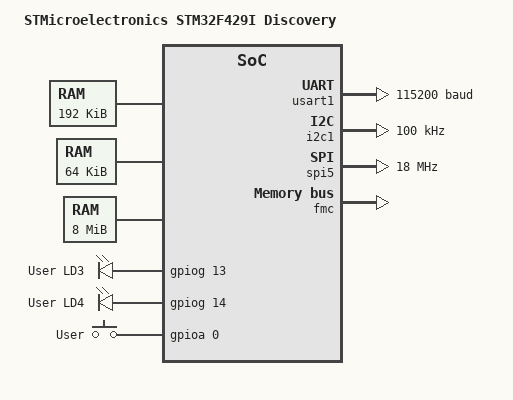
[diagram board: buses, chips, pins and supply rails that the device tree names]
// STM32F429I-DISC Device Tree
// STM32F429I-DISC 设备树
//
// 设备树的核心是定义 "硬件属性"（寄存器地址、中断号、时钟、兼容标识等），不定义 "驱动逻辑"
// 驱动代码通过「通用逻辑 + 适配层」处理不同 SoC 的外设操作差异，适配层由设备树的 compatible 属性触发
//
// 基于 Zephyr 的 stm32f429i_disc1 设备树配置移植

/dts-v1/;

/ {
    // 开发板模型描述
    // 开发板的名称和兼容标识，用于驱动匹配
    model = "STMicroelectronics STM32F429I Discovery";
    compatible = "st,stm32f4discovery";

    // 内存定义
    // 内部 SRAM
    sram0: memory@20000000 {
        device_type = "memory";
        compatible = "mmio-sram";
        reg = <0x20000000 0x30000>;
    };

    // DTCM (Data Tightly Coupled Memory)
    ccm0: memory@20000000 {
        compatible = "zephyr,memory-region", "mmio-sram";
        reg = <0x20000000 0x10000>;
        zephyr,memory-region = "DTCM";
    };

    // 外部 SDRAM (8MB)
    sdram2: memory@d0000000 {
        compatible = "zephyr,memory-region", "mmio-sram";
        device_type = "memory";
        reg = <0xd0000000 DT_SIZE_M(8)>;
        zephyr,memory-region = "SDRAM2";
    };

    // LED 设备节点定义
    // 定义 LED 的引脚配置等硬件属性
    leds {
        compatible = "gpio-leds";

        // LD3 (绿色 LED)
        green_led_3: led_3 {
            // 兼容标识，用于匹配对应的 LED 驱动
            compatible = "gpio-leds";
            // GPIO 引脚编号: PG13
            gpios = <&gpiog 13 0>;
            // LED 标签
            label = "User LD3";
        };

        // LD4 (红色 LED)
        red_led_4: led_4 {
            // 兼容标识，用于匹配对应的 LED 驱动
            compatible = "gpio-leds";
            // GPIO 引脚编号: PG14
            gpios = <&gpiog 14 0>;
            // LED 标签
            label = "User LD4";
        };
    };

    // GPIO 按键节点定义
    gpio_keys {
        compatible = "gpio-keys";

        // 用户按钮
        user_button: button {
            label = "User";
            // GPIO 引脚编号: PA0
            gpios = <&gpioa 0 16>;
            zephyr,code = <0>;
        };
    };

    // SoC (System on Chip) 节点定义
    // 包含所有片上外设的硬件属性
    soc {
        #address-cells = <1>;
        #size-cells = <1>;
        // SoC 兼容标识
        compatible = "st,stm32f429";
        // 地址转换范围
        ranges;

        // GPIOA 控制器
        gpioa: gpio@40020000 {
            compatible = "st,stm32-gpio";
            reg = <0x40020000 0x400>;
            clocks = <&rcc 0>;
        };

        // GPIOG 控制器
        gpiog: gpio@40021000 {
            compatible = "st,stm32-gpio";
            reg = <0x40021000 0x400>;
            clocks = <&rcc 0>;
        };

        // UART1 串口节点定义
        // 定义串口的寄存器地址、中断号、时钟频率等硬件属性
        usart1: serial@40013800 {
            // 兼容标识，用于匹配对应的 UART 驱动
            compatible = "st,stm32-usart";
            // 寄存器基地址和大小
            // base address = 0x40013800, size = 0x400
            reg = <0x40013800 0x400>;
            // 中断号
            interrupts = <37>;
            // 时钟频率，单位 Hz
            clock-frequency = <180000000>;
            // 波特率
            current-speed = <115200>;
            // 状态
            status = "okay";
        };

        // I2C1 总线节点定义
        i2c1: i2c@40005400 {
            // 兼容标识，用于匹配对应的 I2C 驱动
            compatible = "st,stm32-i2c";
            // 寄存器基地址和大小
            reg = <0x40005400 0x400>;
            // 中断号
            interrupts = <31>;
            // 时钟频率，单位 Hz
            clock-frequency = <100000>;
            // 状态
            status = "okay";
        };

        // SPI5 总线节点定义
        spi5: spi@40015000 {
            // 兼容标识，用于匹配对应的 SPI 驱动
            compatible = "st,stm32-spi";
            // 寄存器基地址和大小
            reg = <0x40015000 0x400>;
            // 中断号
            interrupts = <44>;
            // 时钟频率，单位 Hz
            clock-frequency = <18000000>;
            // 状态
            status = "okay";
        };

        // FMC (Flexible Memory Controller) 控制器
        // 用于连接外部 SDRAM
        fmc: fmc@40021000 {
            compatible = "st,stm32-fmc";
            reg = <0x40021000 0x400>;
            clocks = <&rcc 0>;
            status = "okay";
        };

        // LTDC (LCD-TFT Display Controller) 控制器
        ltdc: ltdc@40016800 {
            compatible = "st,stm32-ltdc";
            reg = <0x40016800 0x400>;
            interrupts = <88>;
            clocks = <&rcc 0>;
            status = "disabled";
        };

        // USB OTG HS 控制器
        usbotg_hs: usb@40040000 {
            compatible = "st,stm32-otghs";
            reg = <0x40040000 0x40000>;
            interrupts = <71 74>;
            clocks = <&rcc 0>;
            status = "disabled";
        };

        // RCC (Reset and Clock Control) 控制器
        rcc: rcc@40023800 {
            compatible = "st,stm32-rcc";
            reg = <0x40023800 0x400>;
            clocks = <&pll>;
        };
    };

    // 别名定义
    // 为常用设备提供简短的别名，方便驱动查找
    aliases {
        led0 = &green_led_3;
        sw0 = &user_button;
        console = &usart1;
        serial0 = &usart1;
    };
};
